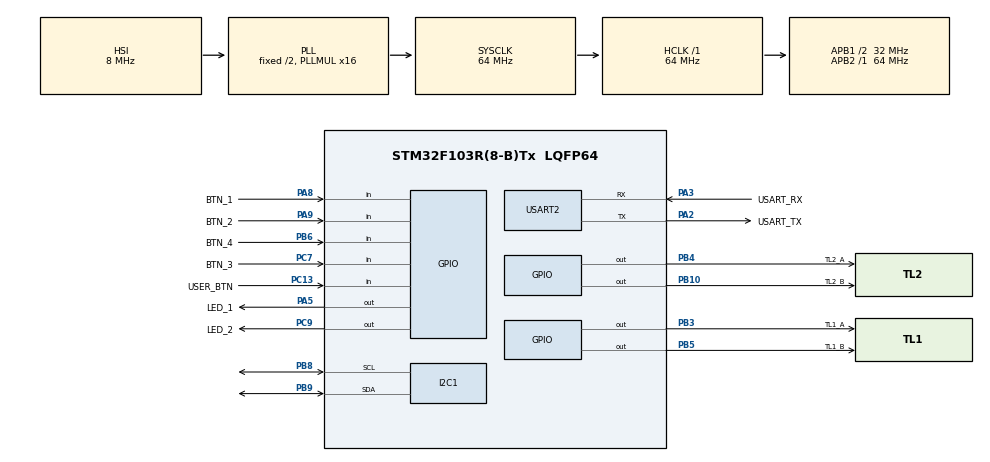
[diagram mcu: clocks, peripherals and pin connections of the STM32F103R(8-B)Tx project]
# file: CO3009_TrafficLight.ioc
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Mcu.Family=STM32F1
Mcu.Name=STM32F103R(8-B)Tx
Mcu.Package=LQFP64
NVIC.PriorityGroup=NVIC_PRIORITYGROUP_4
NVIC.TIM2_IRQn=true\:0\:0\:false\:false\:true\:true\:true\:true
PA13.GPIO_Label=TMS
PA13.Mode=Serial_Wire
PA13.Signal=SYS_JTMS-SWDIO
PA14.GPIO_Label=TCK
PA14.Mode=Serial_Wire
PA14.Signal=SYS_JTCK-SWCLK
PA2.GPIO_Label=USART_TX
PA2.GPIO_Mode=GPIO_MODE_AF_PP
PA2.GPIO_PuPd=GPIO_NOPULL
PA2.GPIO_Speed=GPIO_SPEED_FREQ_LOW
PA2.Mode=Asynchronous
PA2.Signal=USART2_TX
PA3.GPIO_Label=USART_RX
PA3.GPIO_Mode=GPIO_MODE_AF_PP
PA3.GPIO_PuPd=GPIO_NOPULL
PA3.GPIO_Speed=GPIO_SPEED_FREQ_LOW
PA3.Mode=Asynchronous
PA3.Signal=USART2_RX
PA5.GPIO_Label=LED_1
PA5.Signal=GPIO_Output
PA8.GPIO_Label=BTN_1
PA8.GPIO_PuPd=GPIO_PULLUP
PA8.Signal=GPIO_Input
PA9.GPIO_Label=BTN_2
PA9.GPIO_PuPd=GPIO_PULLUP
PA9.Signal=GPIO_Input
PB10.GPIO_Label=TL2_B
PB10.Signal=GPIO_Output
PB3.GPIO_Label=TL1_A
PB3.Signal=GPIO_Output
PB4.GPIO_Label=TL2_A
PB4.Signal=GPIO_Output
PB5.GPIO_Label=TL1_B
PB5.Signal=GPIO_Output
PB6.GPIO_Label=BTN_4
PB6.GPIO_PuPd=GPIO_PULLUP
PB6.Signal=GPIO_Input
PB8.Mode=I2C
PB8.Signal=I2C1_SCL
PB9.Mode=I2C
PB9.Signal=I2C1_SDA
PC13-TAMPER-RTC.GPIO_Label=USER_BTN
PC13-TAMPER-RTC.GPIO_PuPd=GPIO_PULLUP
PC13-TAMPER-RTC.Signal=GPIO_Input
PC14-OSC32_IN.Signal=RCC_OSC32_IN
PC15-OSC32_OUT.Signal=RCC_OSC32_OUT
PC7.GPIO_Label=BTN_3
PC7.GPIO_PuPd=GPIO_PULLUP
PC7.Signal=GPIO_Input
PC9.GPIO_Label=LED_2
PC9.Signal=GPIO_Output
PD0-OSC_IN.Signal=RCC_OSC_IN
PD1-OSC_OUT.Signal=RCC_OSC_OUT
ProjectManager.HeapSize=0x200
ProjectManager.StackSize=0x400
ProjectManager.TargetToolchain=CMake
RCC.AHBFreq_Value=64000000
RCC.APB1CLKDivider=RCC_HCLK_DIV2
RCC.APB1Freq_Value=32000000
RCC.APB1TimFreq_Value=64000000
RCC.APB2Freq_Value=64000000
RCC.APB2TimFreq_Value=64000000
RCC.HCLKFreq_Value=64000000
RCC.PLLMUL=RCC_PLL_MUL16
RCC.RTCClockSelection=RCC_RTCCLKSOURCE_LSE
RCC.SYSCLKFreq_VALUE=64000000
RCC.SYSCLKSource=RCC_SYSCLKSOURCE_PLLCLK
RCC.USBFreq_Value=64000000
TIM2.Period=99
TIM2.Prescaler=6399
USART2.VirtualMode=VM_ASYNC
VP_TIM2_VS_ClockSourceINT.Mode=Internal
board=NUCLEO-F103RB

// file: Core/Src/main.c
/* USER CODE BEGIN Header */
/**
  ******************************************************************************
  * @file           : main.c
  * @brief          : Main program body
  ******************************************************************************
  * @attention
  *
  * Copyright (c) 2026 STMicroelectronics.
  * All rights reserved.
  *
  * This software is licensed under terms that can be found in the LICENSE file
  * in the root directory of this software component.
  * If no LICENSE file comes with this software, it is provided AS-IS.
  *
  ******************************************************************************
  */
/* USER CODE END Header */
#include "main.h"
#include "i2c.h"
#include "tim.h"
#include "usart.h"
#include "gpio.h"

/* USER CODE BEGIN Includes */
#include "scheduler.h"
#include "software_timer.h"
#include "button.h"
#include "traffic_light.h"
#include "lcd.h"
#include "dht20.h"
#include "global.h"
#include "fsm_mode.h"
#include "display.h"
/* USER CODE END Includes */

void SystemClock_Config(void);

/* USER CODE BEGIN 0 */
/* ===== 10 ms system tasks ===== */
void task_button_read(void) { button_read(); }
void task_timer_run(void)   { timer_run(); }

/* ===== DHT20 reading: trigger every 2 s, read with a ONE-SHOT task 100 ms later ===== */
static uint8_t dht_read_retry = 0;

void task_dht20_read(void)
{
  dht20_status_t st = dht20_read_measure();
  if (st == DHT20_ERR_BUSY && dht_read_retry < 5) {   // not finished -> try again in 20 ms
    dht_read_retry++;
    SCH_Add_Task(task_dht20_read, 2, 0);
    return;
  }
  dht_read_retry = 0;
}

void task_dht20_trigger(void)
{
  if (dht20_start_measure() == DHT20_OK) {
    SCH_Add_Task(task_dht20_read, 10, 0);            // ONE-SHOT, 10 ticks = 100 ms
  }
}

/* ===== LED PC9 heartbeat = system alive ===== */
void task_heartbeat(void)
{
  HAL_GPIO_TogglePin(LED_2_GPIO_Port, LED_2_Pin);
}
/* USER CODE END 0 */

int main(void)
{

  /* MCU Configuration--------------------------------------------------------*/

  /* Reset of all peripherals, Initializes the Flash interface and the Systick. */
  HAL_Init();

  /* Configure the system clock */
  SystemClock_Config();

  /* Initialize all configured peripherals */
  MX_GPIO_Init();
  MX_I2C1_Init();
  MX_TIM2_Init();
  MX_USART2_UART_Init();
  /* USER CODE BEGIN 2 */
  /* init (before the scheduler starts) */
  SCH_Init();
  timer_init();
  button_init();
  traffic_init();
  lcd_init();
  dht20_init();
  fsm_mode_init(); // start in AUTO: ALL RED 2 s -> R1 G2

  /* tasks: same due time -> run in this order: buttons, timers, state machine
   */
  SCH_Add_Task(task_button_read, 0, 1);       // every 10 ms
  SCH_Add_Task(task_timer_run, 0, 1);         // every 10 ms
  SCH_Add_Task(fsm_mode_run, 0, 1);           // every 10 ms
  SCH_Add_Task(display_run, 5, 10);           // every 100 ms
  SCH_Add_Task(task_dht20_trigger, 100, 200); // first at 1 s, then every 2 s
  SCH_Add_Task(task_heartbeat, 0, 50);        // every 500 ms

  /* start the 10 ms tick (always last) */
  __HAL_TIM_CLEAR_FLAG(&htim2, TIM_FLAG_UPDATE);
  HAL_TIM_Base_Start_IT(&htim2);
  /* USER CODE END 2 */

  /* Infinite loop */
  while (1)
  {

    /* USER CODE BEGIN 3 */
    SCH_Dispatch_Tasks();
  }
  /* USER CODE END 3 */
}

void SystemClock_Config(void)
{
  RCC_OscInitTypeDef RCC_OscInitStruct = {0};
  RCC_ClkInitTypeDef RCC_ClkInitStruct = {0};

  /** Initializes the RCC Oscillators according to the specified parameters
  * in the RCC_OscInitTypeDef structure.
  */
  RCC_OscInitStruct.OscillatorType = RCC_OSCILLATORTYPE_HSI;
  RCC_OscInitStruct.HSIState = RCC_HSI_ON;
  RCC_OscInitStruct.HSICalibrationValue = RCC_HSICALIBRATION_DEFAULT;
  RCC_OscInitStruct.PLL.PLLState = RCC_PLL_ON;
  RCC_OscInitStruct.PLL.PLLSource = RCC_PLLSOURCE_HSI_DIV2;
  RCC_OscInitStruct.PLL.PLLMUL = RCC_PLL_MUL16;
  if (HAL_RCC_OscConfig(&RCC_OscInitStruct) != HAL_OK)
  {
    Error_Handler();
  }

  /** Initializes the CPU, AHB and APB buses clocks
  */
  RCC_ClkInitStruct.ClockType = RCC_CLOCKTYPE_HCLK|RCC_CLOCKTYPE_SYSCLK
                              |RCC_CLOCKTYPE_PCLK1|RCC_CLOCKTYPE_PCLK2;
  RCC_ClkInitStruct.SYSCLKSource = RCC_SYSCLKSOURCE_PLLCLK;
  RCC_ClkInitStruct.AHBCLKDivider = RCC_SYSCLK_DIV1;
  RCC_ClkInitStruct.APB1CLKDivider = RCC_HCLK_DIV2;
  RCC_ClkInitStruct.APB2CLKDivider = RCC_HCLK_DIV1;

  if (HAL_RCC_ClockConfig(&RCC_ClkInitStruct, FLASH_LATENCY_2) != HAL_OK)
  {
    Error_Handler();
  }
}

/* USER CODE BEGIN 4 */
void HAL_TIM_PeriodElapsedCallback(TIM_HandleTypeDef *htim)
{
  if (htim->Instance == TIM2) {
    SCH_Update();
  }
}
/* USER CODE END 4 */

void Error_Handler(void)
{
  __disable_irq();
  while (1)
  {
  }
}
